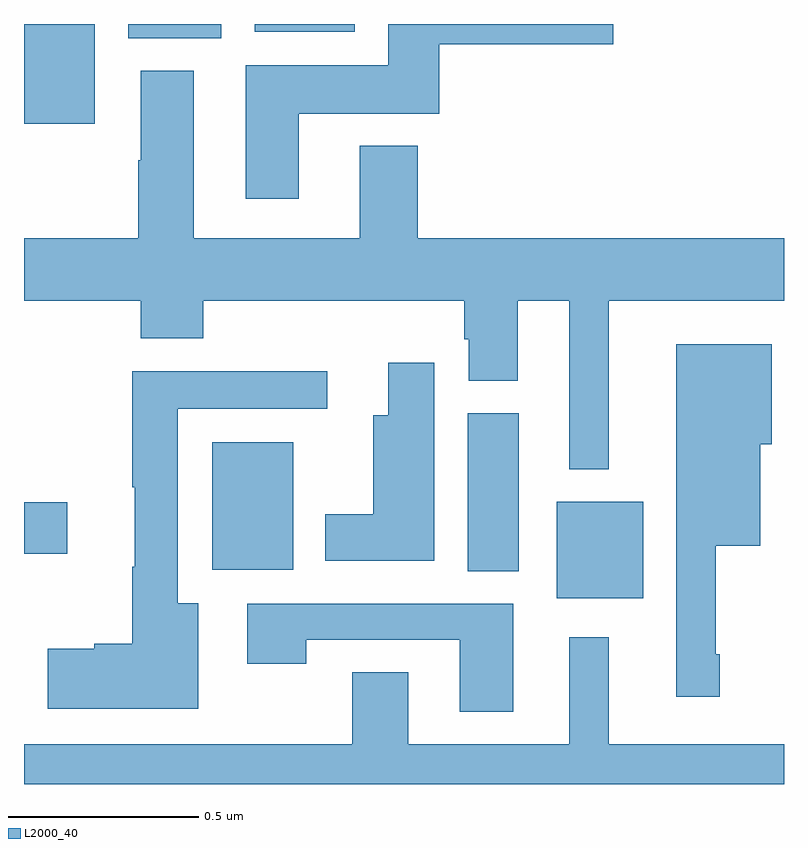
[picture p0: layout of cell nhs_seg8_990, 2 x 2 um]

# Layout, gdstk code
import gdstk
lib = gdstk.Library(unit=1e-6, precision=1e-09)
def R(c, l, rs):  # rectangles x0, y0, x1, y1
    for r in rs: c.add(gdstk.rectangle(r[:2], r[2:], *l))
def P(c, l, *ps):  # polygons
    for p in ps: c.add(gdstk.Polygon(p, *l))
L2000_40 = (2000, 40)

nhs_seg8_990 = lib.new_cell('nhs_seg8_990')
R(nhs_seg8_990, L2000_40, [(125.402,1110.389,125.629,1110.643), (125.168,1110.46,125.302,1110.876), (124.496,1110.464,124.708,1110.799), (124,1111.637,124.186,1111.9), (124.274,1111.862,124.519,1111.9), (124.607,1111.88,124.87,1111.9)])
P(nhs_seg8_990, L2000_40, [(124.723,1111.664),(125.093,1111.664),(125.093,1111.847),(125.551,1111.847),(125.551,1111.9),(124.958,1111.9),(124.958,1111.792),(124.583,1111.792),(124.583,1111.44),(124.723,1111.44)],
  [(125.539,1111.172),(126,1111.172),(126,1111.336),(125.036,1111.336),(125.036,1111.579),(124.883,1111.579),(124.883,1111.336),(124.447,1111.336),(124.447,1111.777),(124.307,1111.777),(124.307,1111.541),(124.3,1111.541),(124.3,1111.336),(124,1111.336),(124,1111.172),(124.307,1111.172),(124.307,1111.073),(124.472,1111.073),(124.472,1111.172),(125.159,1111.172),(125.159,1111.071),(125.171,1111.071),(125.171,1110.961),(125.299,1110.961),(125.299,1111.172),(125.435,1111.172),(125.435,1110.728),(125.539,1110.728)],
  [(125.831,1110.241),(125.821,1110.241),(125.821,1110.527),(125.938,1110.527),(125.938,1110.794),(125.968,1110.794),(125.968,1111.057),(125.717,1111.057),(125.717,1110.129),(125.831,1110.129)],
  [(125.08,1111.009),(124.958,1111.009),(124.958,1110.871),(124.919,1110.871),(124.919,1110.61),(124.793,1110.61),(124.793,1110.488),(125.08,1110.488)],
  [(124.459,1110.376),(124.405,1110.376),(124.405,1110.888),(124.798,1110.888),(124.798,1110.986),(124.285,1110.986),(124.285,1110.681),(124.292,1110.681),(124.292,1110.472),(124.285,1110.472),(124.285,1110.269),(124.185,1110.269),(124.185,1110.256),(124.062,1110.256),(124.062,1110.098),(124.459,1110.098)],
  [(124.114,1110.641),(124.001,1110.641),(124.001,1110.628),(124,1110.628),(124,1110.506),(124.114,1110.506)],
  [(125.287,1110.375),(124.587,1110.375),(124.587,1110.216),(124.743,1110.216),(124.743,1110.279),(125.147,1110.279),(125.147,1110.09),(125.287,1110.09)],
  [(126,1110.004),(125.539,1110.004),(125.539,1110.286),(125.435,1110.286),(125.435,1110.004),(125.011,1110.004),(125.011,1110.194),(124.864,1110.194),(124.864,1110.004),(124,1110.004),(124,1109.9),(126,1109.9)])

lib.write_gds('nhs_seg8_990.gds')
